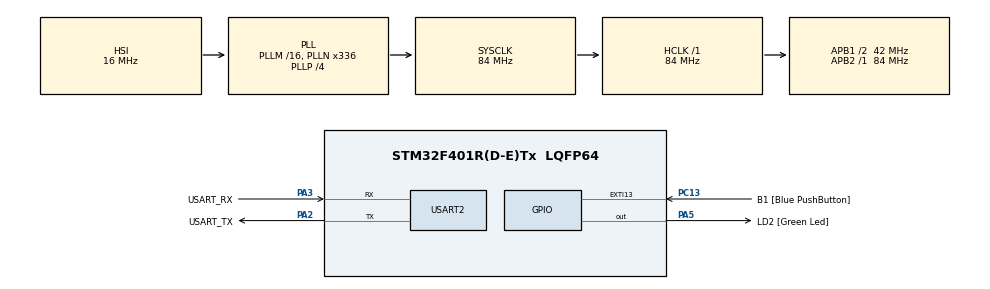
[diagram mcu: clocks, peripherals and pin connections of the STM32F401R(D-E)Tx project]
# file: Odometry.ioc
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Dma.Request0=USART2_RX
Dma.Request1=USART2_TX
Dma.USART2_RX.0.Direction=DMA_PERIPH_TO_MEMORY
Dma.USART2_RX.0.FIFOMode=DMA_FIFOMODE_DISABLE
Dma.USART2_RX.0.Instance=DMA1_Stream5
Dma.USART2_RX.0.MemDataAlignment=DMA_MDATAALIGN_BYTE
Dma.USART2_RX.0.MemInc=DMA_MINC_ENABLE
Dma.USART2_RX.0.Mode=DMA_CIRCULAR
Dma.USART2_RX.0.PeriphDataAlignment=DMA_PDATAALIGN_BYTE
Dma.USART2_RX.0.PeriphInc=DMA_PINC_DISABLE
Dma.USART2_RX.0.Priority=DMA_PRIORITY_VERY_HIGH
Dma.USART2_TX.1.Direction=DMA_MEMORY_TO_PERIPH
Dma.USART2_TX.1.FIFOMode=DMA_FIFOMODE_DISABLE
Dma.USART2_TX.1.Instance=DMA1_Stream6
Dma.USART2_TX.1.MemDataAlignment=DMA_MDATAALIGN_BYTE
Dma.USART2_TX.1.MemInc=DMA_MINC_ENABLE
Dma.USART2_TX.1.Mode=DMA_NORMAL
Dma.USART2_TX.1.PeriphDataAlignment=DMA_PDATAALIGN_BYTE
Dma.USART2_TX.1.PeriphInc=DMA_PINC_DISABLE
Dma.USART2_TX.1.Priority=DMA_PRIORITY_VERY_HIGH
FREERTOS.Tasks01=defaultTask,24,3000,StartDefaultTask,Default,NULL,Dynamic,NULL,NULL
Mcu.Family=STM32F4
Mcu.Name=STM32F401R(D-E)Tx
Mcu.Package=LQFP64
NVIC.DMA1_Stream5_IRQn=true\:5\:0\:false\:false\:true\:true\:false\:true\:true
NVIC.DMA1_Stream6_IRQn=true\:5\:0\:false\:false\:true\:true\:false\:true\:true
NVIC.PriorityGroup=NVIC_PRIORITYGROUP_4
NVIC.USART2_IRQn=true\:5\:0\:false\:false\:true\:true\:true\:true\:true
PA13.GPIO_Label=TMS
PA13.Mode=Serial_Wire
PA13.Signal=SYS_JTMS-SWDIO
PA14.GPIO_Label=TCK
PA14.Mode=Serial_Wire
PA14.Signal=SYS_JTCK-SWCLK
PA2.GPIO_Label=USART_TX
PA2.GPIO_Mode=GPIO_MODE_AF_PP
PA2.GPIO_PuPd=GPIO_NOPULL
PA2.GPIO_Speed=GPIO_SPEED_FREQ_LOW
PA2.Mode=Asynchronous
PA2.Signal=USART2_TX
PA3.GPIO_Label=USART_RX
PA3.GPIO_Mode=GPIO_MODE_AF_PP
PA3.GPIO_PuPd=GPIO_NOPULL
PA3.GPIO_Speed=GPIO_SPEED_FREQ_LOW
PA3.Mode=Asynchronous
PA3.Signal=USART2_RX
PA5.GPIO_Label=LD2 [Green Led]
PA5.GPIO_Mode=GPIO_MODE_OUTPUT_PP
PA5.GPIO_PuPd=GPIO_NOPULL
PA5.GPIO_Speed=GPIO_SPEED_FREQ_LOW
PA5.Signal=GPIO_Output
PB3.GPIO_Label=SWO
PB3.Signal=SYS_JTDO-SWO
PC13-ANTI_TAMP.GPIO_Label=B1 [Blue PushButton]
PC13-ANTI_TAMP.GPIO_ModeDefaultEXTI=GPIO_MODE_IT_FALLING
PC13-ANTI_TAMP.GPIO_PuPd=GPIO_NOPULL
PC13-ANTI_TAMP.Signal=GPXTI13
PC14-OSC32_IN.Mode=LSE-External-Oscillator
PC14-OSC32_IN.Signal=RCC_OSC32_IN
PC15-OSC32_OUT.Mode=LSE-External-Oscillator
PC15-OSC32_OUT.Signal=RCC_OSC32_OUT
PH0\ -\ OSC_IN.Mode=HSE-External-Oscillator
PH0\ -\ OSC_IN.Signal=RCC_OSC_IN
PH1\ -\ OSC_OUT.Mode=HSE-External-Oscillator
PH1\ -\ OSC_OUT.Signal=RCC_OSC_OUT
ProjectManager.HeapSize=0x200
ProjectManager.StackSize=0x400
ProjectManager.TargetToolchain=STM32CubeIDE
RCC.48MHZClocksFreq_Value=48000000
RCC.AHBFreq_Value=84000000
RCC.APB1CLKDivider=RCC_HCLK_DIV2
RCC.APB1Freq_Value=42000000
RCC.APB1TimFreq_Value=84000000
RCC.APB2Freq_Value=84000000
RCC.APB2TimFreq_Value=84000000
RCC.CortexFreq_Value=84000000
RCC.HCLKFreq_Value=84000000
RCC.HSE_VALUE=8000000
RCC.HSI_VALUE=16000000
RCC.PLLN=336
RCC.PLLP=RCC_PLLP_DIV4
RCC.PLLQ=7
RCC.SYSCLKFreq_VALUE=84000000
RCC.SYSCLKSource=RCC_SYSCLKSOURCE_PLLCLK
RCC.VCOOutputFreq_Value=336000000
USART2.VirtualMode=VM_ASYNC
VP_FREERTOS_VS_CMSIS_V2.Mode=CMSIS_V2
board=NUCLEO-F401RE

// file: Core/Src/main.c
/* USER CODE BEGIN Header */
/**
  ******************************************************************************
  * @file           : main.c
  * @brief          : Main program body
  ******************************************************************************
  * @attention
  *
  * Copyright (c) 2024 STMicroelectronics.
  * All rights reserved.
  *
  * This software is licensed under terms that can be found in the LICENSE file
  * in the root directory of this software component.
  * If no LICENSE file comes with this software, it is provided AS-IS.
  *
  ******************************************************************************
  */
/* USER CODE END Header */
#include "main.h"
#include "cmsis_os.h"

/* USER CODE BEGIN Includes */
#include <rcl/rcl.h>
#include <rcl/error_handling.h>
#include <rclc/rclc.h>
#include <rclc/executor.h>
#include <uxr/client/transport.h>
#include <rmw_microxrcedds_c/config.h>
#include <rmw_microros/rmw_microros.h>

#include <std_msgs/msg/int32.h>
#include <nav_msgs/msg/odometry.h>
#include <geometry_msgs/msg/pose.h>
#include <geometry_msgs/msg/twist.h>

/* USER CODE END Includes */

UART_HandleTypeDef huart2;
DMA_HandleTypeDef hdma_usart2_rx;
DMA_HandleTypeDef hdma_usart2_tx;

/* Definitions for defaultTask */
osThreadId_t defaultTaskHandle;
const osThreadAttr_t defaultTask_attributes = {
  .name = "defaultTask",
  .stack_size = 3000 * 4,
  .priority = (osPriority_t) osPriorityNormal,
};

void SystemClock_Config(void);
static void MX_GPIO_Init(void);
static void MX_DMA_Init(void);
static void MX_USART2_UART_Init(void);
void StartDefaultTask(void *argument);

int main(void)
{

  /* MCU Configuration--------------------------------------------------------*/

  /* Reset of all peripherals, Initializes the Flash interface and the Systick. */
  HAL_Init();

  /* Configure the system clock */
  SystemClock_Config();

  /* Initialize all configured peripherals */
  MX_GPIO_Init();
  MX_DMA_Init();
  MX_USART2_UART_Init();

  /* Init scheduler */
  osKernelInitialize();

  /* Create the thread(s) */
  /* creation of defaultTask */
  defaultTaskHandle = osThreadNew(StartDefaultTask, NULL, &defaultTask_attributes);

  /* Start scheduler */
  osKernelStart();

  /* We should never get here as control is now taken by the scheduler */

  /* Infinite loop */
  while (1)
  {

  }
}

void SystemClock_Config(void)
{
  RCC_OscInitTypeDef RCC_OscInitStruct = {0};
  RCC_ClkInitTypeDef RCC_ClkInitStruct = {0};

  /** Configure the main internal regulator output voltage
  */
  __HAL_RCC_PWR_CLK_ENABLE();
  __HAL_PWR_VOLTAGESCALING_CONFIG(PWR_REGULATOR_VOLTAGE_SCALE2);

  /** Initializes the RCC Oscillators according to the specified parameters
  * in the RCC_OscInitTypeDef structure.
  */
  RCC_OscInitStruct.OscillatorType = RCC_OSCILLATORTYPE_HSI;
  RCC_OscInitStruct.HSIState = RCC_HSI_ON;
  RCC_OscInitStruct.HSICalibrationValue = RCC_HSICALIBRATION_DEFAULT;
  RCC_OscInitStruct.PLL.PLLState = RCC_PLL_ON;
  RCC_OscInitStruct.PLL.PLLSource = RCC_PLLSOURCE_HSI;
  RCC_OscInitStruct.PLL.PLLM = 16;
  RCC_OscInitStruct.PLL.PLLN = 336;
  RCC_OscInitStruct.PLL.PLLP = RCC_PLLP_DIV4;
  RCC_OscInitStruct.PLL.PLLQ = 7;
  if (HAL_RCC_OscConfig(&RCC_OscInitStruct) != HAL_OK)
  {
    Error_Handler();
  }

  /** Initializes the CPU, AHB and APB buses clocks
  */
  RCC_ClkInitStruct.ClockType = RCC_CLOCKTYPE_HCLK|RCC_CLOCKTYPE_SYSCLK
                              |RCC_CLOCKTYPE_PCLK1|RCC_CLOCKTYPE_PCLK2;
  RCC_ClkInitStruct.SYSCLKSource = RCC_SYSCLKSOURCE_PLLCLK;
  RCC_ClkInitStruct.AHBCLKDivider = RCC_SYSCLK_DIV1;
  RCC_ClkInitStruct.APB1CLKDivider = RCC_HCLK_DIV2;
  RCC_ClkInitStruct.APB2CLKDivider = RCC_HCLK_DIV1;

  if (HAL_RCC_ClockConfig(&RCC_ClkInitStruct, FLASH_LATENCY_2) != HAL_OK)
  {
    Error_Handler();
  }
}

static void MX_USART2_UART_Init(void)
{

  huart2.Instance = USART2;
  huart2.Init.BaudRate = 115200;
  huart2.Init.WordLength = UART_WORDLENGTH_8B;
  huart2.Init.StopBits = UART_STOPBITS_1;
  huart2.Init.Parity = UART_PARITY_NONE;
  huart2.Init.Mode = UART_MODE_TX_RX;
  huart2.Init.HwFlowCtl = UART_HWCONTROL_NONE;
  huart2.Init.OverSampling = UART_OVERSAMPLING_16;
  if (HAL_UART_Init(&huart2) != HAL_OK)
  {
    Error_Handler();
  }

}

static void MX_DMA_Init(void)
{

  /* DMA controller clock enable */
  __HAL_RCC_DMA1_CLK_ENABLE();

  /* DMA interrupt init */
  /* DMA1_Stream5_IRQn interrupt configuration */
  HAL_NVIC_SetPriority(DMA1_Stream5_IRQn, 5, 0);
  HAL_NVIC_EnableIRQ(DMA1_Stream5_IRQn);
  /* DMA1_Stream6_IRQn interrupt configuration */
  HAL_NVIC_SetPriority(DMA1_Stream6_IRQn, 5, 0);
  HAL_NVIC_EnableIRQ(DMA1_Stream6_IRQn);

}

static void MX_GPIO_Init(void)
{
  GPIO_InitTypeDef GPIO_InitStruct = {0};

  /* GPIO Ports Clock Enable */
  __HAL_RCC_GPIOC_CLK_ENABLE();
  __HAL_RCC_GPIOH_CLK_ENABLE();
  __HAL_RCC_GPIOA_CLK_ENABLE();
  __HAL_RCC_GPIOB_CLK_ENABLE();

  /*Configure GPIO pin Output Level */
  HAL_GPIO_WritePin(LD2_GPIO_Port, LD2_Pin, GPIO_PIN_RESET);

  /*Configure GPIO pin : B1_Pin */
  GPIO_InitStruct.Pin = B1_Pin;
  GPIO_InitStruct.Mode = GPIO_MODE_IT_FALLING;
  GPIO_InitStruct.Pull = GPIO_NOPULL;
  HAL_GPIO_Init(B1_GPIO_Port, &GPIO_InitStruct);

  /*Configure GPIO pin : LD2_Pin */
  GPIO_InitStruct.Pin = LD2_Pin;
  GPIO_InitStruct.Mode = GPIO_MODE_OUTPUT_PP;
  GPIO_InitStruct.Pull = GPIO_NOPULL;
  GPIO_InitStruct.Speed = GPIO_SPEED_FREQ_LOW;
  HAL_GPIO_Init(LD2_GPIO_Port, &GPIO_InitStruct);

}

/* USER CODE BEGIN 4 */
bool cubemx_transport_open(struct uxrCustomTransport * transport);
bool cubemx_transport_close(struct uxrCustomTransport * transport);
size_t cubemx_transport_write(struct uxrCustomTransport* transport, const uint8_t * buf, size_t len, uint8_t * err);
size_t cubemx_transport_read(struct uxrCustomTransport* transport, uint8_t* buf, size_t len, int timeout, uint8_t* err);

void * microros_allocate(size_t size, void * state);
void microros_deallocate(void * pointer, void * state);
void * microros_reallocate(void * pointer, size_t size, void * state);
void * microros_zero_allocate(size_t number_of_elements, size_t size_of_element, void * state);

rcl_publisher_t odometry_publisher;
geometry_msgs__msg__Twist odometry_msg ;
/* USER CODE END 4 */

void StartDefaultTask(void *argument)
{
	  /* USER CODE BEGIN 5 */

	  // micro-ROS configuration
	  rmw_uros_set_custom_transport(
	    true,
	    (void *) &huart2,
	    cubemx_transport_open,
	    cubemx_transport_close,
	    cubemx_transport_write,
	    cubemx_transport_read);

	  rcl_allocator_t freeRTOS_allocator = rcutils_get_zero_initialized_allocator();
	  freeRTOS_allocator.allocate = microros_allocate;
	  freeRTOS_allocator.deallocate = microros_deallocate;
	  freeRTOS_allocator.reallocate = microros_reallocate;
	  freeRTOS_allocator.zero_allocate =  microros_zero_allocate;

	  if (!rcutils_set_default_allocator(&freeRTOS_allocator)) {
	      printf("Error on default allocators (line %d)\n", __LINE__);
	  }

	  // micro-ROS app
	  rclc_support_t support;
	  rcl_allocator_t allocator;
	  rcl_node_t node;

	  allocator = rcl_get_default_allocator();

	  //create init_options
	  rclc_support_init(&support, 0, NULL, &allocator);

	      rclc_node_init_default(&node, "odometry_node", "", &support);

	      // Initialize the publisher with Odometry message type
	      rclc_publisher_init_default(
	          &odometry_publisher,
	          &node,
	          ROSIDL_GET_MSG_TYPE_SUPPORT(geometry_msgs, msg, Twist),
	          "odom"
	      );

	  while(1)
	  {
		  /*odometry_msg.header.stamp.sec = 2;
		  odometry_msg.header.stamp.nanosec = 10;
*/
		      // Update pose (position and orientation)
		  /*odometry_msg.pose.pose.position.x = 10.0 your position x ;
		      odometry_msg.pose.pose.position.y = 15.0 your position y ;
		      odometry_msg.pose.pose.position.z = 0.0;  // Typically 0 in 2D*/

		      // Update twist (linear and angular velocity)
		      odometry_msg.linear.x = 1/* linear velocity x */;
		      odometry_msg.linear.y = 1/* linear velocity y */;
		      odometry_msg.angular.z = 1/* angular velocity z */;

		      // Publish the odometry message
		      rcl_publish(&odometry_publisher, &odometry_msg, NULL);

		      // Small delay to control publish rate
	    osDelay(100);
	  }
	  /* USER CODE END 5 */
}

void Error_Handler(void)
{
  __disable_irq();
  while (1)
  {
  }
}
